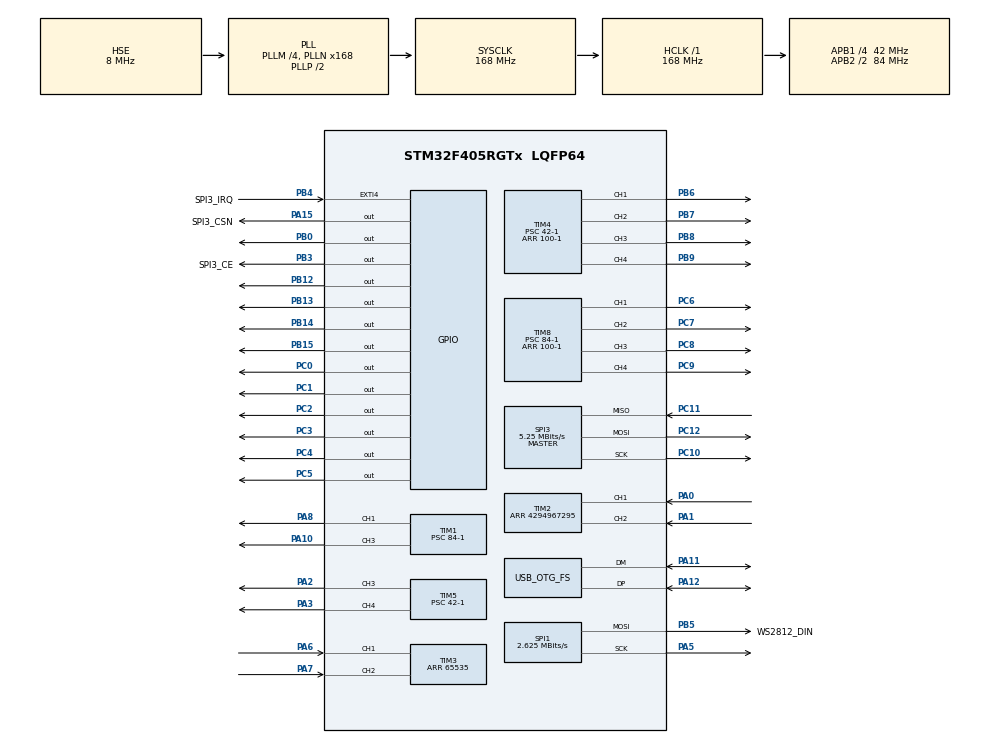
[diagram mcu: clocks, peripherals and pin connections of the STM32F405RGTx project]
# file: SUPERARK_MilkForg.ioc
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Dma.Request0=SPI1_TX
Dma.SPI1_TX.0.Direction=DMA_MEMORY_TO_PERIPH
Dma.SPI1_TX.0.FIFOMode=DMA_FIFOMODE_DISABLE
Dma.SPI1_TX.0.Instance=DMA2_Stream3
Dma.SPI1_TX.0.MemDataAlignment=DMA_MDATAALIGN_BYTE
Dma.SPI1_TX.0.MemInc=DMA_MINC_ENABLE
Dma.SPI1_TX.0.Mode=DMA_NORMAL
Dma.SPI1_TX.0.PeriphDataAlignment=DMA_PDATAALIGN_BYTE
Dma.SPI1_TX.0.PeriphInc=DMA_PINC_DISABLE
Dma.SPI1_TX.0.Priority=DMA_PRIORITY_VERY_HIGH
FREERTOS.Tasks01=defaultTask,24,256,StartDefaultTask,Default,NULL,Dynamic,NULL,NULL;remoteTask,24,512,StartRemoteTask,As weak,NULL,Dynamic,NULL,NULL;ws2812Task,8,512,StartWs2812Task,As weak,NULL,Dynamic,NULL,NULL
FREERTOS.configTOTAL_HEAP_SIZE=15360
Mcu.Family=STM32F4
Mcu.Name=STM32F405RGTx
Mcu.Package=LQFP64
NVIC.DMA2_Stream3_IRQn=true\:5\:0\:false\:false\:true\:true\:false\:true\:true
NVIC.EXTI4_IRQn=true\:5\:0\:false\:false\:true\:true\:true\:true\:true
NVIC.OTG_FS_IRQn=true\:5\:0\:false\:false\:true\:true\:false\:true\:true
NVIC.PriorityGroup=NVIC_PRIORITYGROUP_4
NVIC.SPI1_IRQn=true\:5\:0\:false\:false\:true\:true\:false\:true\:true
NVIC.TIM6_DAC_IRQn=true\:15\:0\:false\:false\:true\:false\:false\:true\:true
NVIC.TimeBase=TIM6_DAC_IRQn
NVIC.TimeBaseIP=TIM6
PA0-WKUP.GPIO_Speed=GPIO_SPEED_FREQ_HIGH
PA0-WKUP.Signal=S_TIM2_CH1_ETR
PA1.GPIO_Speed=GPIO_SPEED_FREQ_HIGH
PA1.Signal=S_TIM2_CH2
PA10.GPIO_Speed=GPIO_SPEED_FREQ_HIGH
PA10.Signal=S_TIM1_CH3
PA11.Mode=Device_Only
PA11.Signal=USB_OTG_FS_DM
PA12.Mode=Device_Only
PA12.Signal=USB_OTG_FS_DP
PA13.Mode=Serial_Wire
PA13.Signal=SYS_JTMS-SWDIO
PA14.Mode=Serial_Wire
PA14.Signal=SYS_JTCK-SWCLK
PA15.GPIO_Label=SPI3_CSN
PA15.Signal=GPIO_Output
PA2.GPIO_Speed=GPIO_SPEED_FREQ_HIGH
PA2.Signal=S_TIM5_CH3
PA3.GPIO_Speed=GPIO_SPEED_FREQ_HIGH
PA3.Signal=S_TIM5_CH4
PA5.Mode=TX_Only_Simplex_Unidirect_Master
PA5.Signal=SPI1_SCK
PA6.GPIO_Speed=GPIO_SPEED_FREQ_HIGH
PA6.Signal=S_TIM3_CH1
PA7.GPIO_Speed=GPIO_SPEED_FREQ_HIGH
PA7.Signal=S_TIM3_CH2
PA8.GPIO_Speed=GPIO_SPEED_FREQ_HIGH
PA8.Signal=S_TIM1_CH1
PB0.Signal=GPIO_Output
PB12.Signal=GPIO_Output
PB13.Signal=GPIO_Output
PB14.Signal=GPIO_Output
PB15.Signal=GPIO_Output
PB3.GPIO_Label=SPI3_CE
PB3.Signal=GPIO_Output
PB4.GPIO_Label=SPI3_IRQ
PB4.GPIO_ModeDefaultEXTI=GPIO_MODE_IT_FALLING
PB4.GPIO_PuPd=GPIO_PULLUP
PB4.Signal=GPXTI4
PB5.GPIO_Label=WS2812_DIN
PB5.Mode=TX_Only_Simplex_Unidirect_Master
PB5.Signal=SPI1_MOSI
PB6.GPIO_Speed=GPIO_SPEED_FREQ_HIGH
PB6.Signal=S_TIM4_CH1
PB7.GPIO_Speed=GPIO_SPEED_FREQ_HIGH
PB7.Signal=S_TIM4_CH2
PB8.GPIO_Speed=GPIO_SPEED_FREQ_HIGH
PB8.Signal=S_TIM4_CH3
PB9.GPIO_Speed=GPIO_SPEED_FREQ_HIGH
PB9.Signal=S_TIM4_CH4
PC0.Signal=GPIO_Output
PC1.Signal=GPIO_Output
PC10.Mode=Full_Duplex_Master
PC10.Signal=SPI3_SCK
PC11.Mode=Full_Duplex_Master
PC11.Signal=SPI3_MISO
PC12.Mode=Full_Duplex_Master
PC12.Signal=SPI3_MOSI
PC2.Signal=GPIO_Output
PC3.Signal=GPIO_Output
PC4.Signal=GPIO_Output
PC5.Signal=GPIO_Output
PC6.GPIO_Speed=GPIO_SPEED_FREQ_HIGH
PC6.Signal=S_TIM8_CH1
PC7.GPIO_Speed=GPIO_SPEED_FREQ_HIGH
PC7.Signal=S_TIM8_CH2
PC8.GPIO_Speed=GPIO_SPEED_FREQ_HIGH
PC8.Signal=S_TIM8_CH3
PC9.GPIO_Speed=GPIO_SPEED_FREQ_HIGH
PC9.Signal=S_TIM8_CH4
PH0-OSC_IN.Mode=HSE-External-Oscillator
PH0-OSC_IN.Signal=RCC_OSC_IN
PH1-OSC_OUT.Mode=HSE-External-Oscillator
PH1-OSC_OUT.Signal=RCC_OSC_OUT
ProjectManager.HeapSize=0x200
ProjectManager.StackSize=0x400
ProjectManager.TargetToolchain=CMake
RCC.48MHZClocksFreq_Value=48000000
RCC.AHBFreq_Value=168000000
RCC.APB1CLKDivider=RCC_HCLK_DIV4
RCC.APB1Freq_Value=42000000
RCC.APB1TimFreq_Value=84000000
RCC.APB2CLKDivider=RCC_HCLK_DIV2
RCC.APB2Freq_Value=84000000
RCC.APB2TimFreq_Value=168000000
RCC.CortexFreq_Value=168000000
RCC.HCLKFreq_Value=168000000
RCC.HSE_VALUE=8000000
RCC.HSI_VALUE=16000000
RCC.LSE_VALUE=32768
RCC.PLLM=4
RCC.PLLN=168
RCC.PLLQ=7
RCC.SYSCLKFreq_VALUE=168000000
RCC.SYSCLKSource=RCC_SYSCLKSOURCE_PLLCLK
RCC.VCOOutputFreq_Value=336000000
SH.S_TIM1_CH1.0=TIM1_CH1,PWM Generation1 CH1
SH.S_TIM1_CH3.0=TIM1_CH3,PWM Generation3 CH3
SH.S_TIM2_CH1_ETR.0=TIM2_CH1,Encoder_Interface
SH.S_TIM2_CH2.0=TIM2_CH2,Encoder_Interface
SH.S_TIM3_CH1.0=TIM3_CH1,Encoder_Interface
SH.S_TIM3_CH2.0=TIM3_CH2,Encoder_Interface
SH.S_TIM4_CH1.0=TIM4_CH1,PWM Generation1 CH1
SH.S_TIM4_CH2.0=TIM4_CH2,PWM Generation2 CH2
SH.S_TIM4_CH3.0=TIM4_CH3,PWM Generation3 CH3
SH.S_TIM4_CH4.0=TIM4_CH4,PWM Generation4 CH4
SH.S_TIM5_CH3.0=TIM5_CH3,PWM Generation3 CH3
SH.S_TIM5_CH4.0=TIM5_CH4,PWM Generation4 CH4
SH.S_TIM8_CH1.0=TIM8_CH1,PWM Generation1 CH1
SH.S_TIM8_CH2.0=TIM8_CH2,PWM Generation2 CH2
SH.S_TIM8_CH3.0=TIM8_CH3,PWM Generation3 CH3
SH.S_TIM8_CH4.0=TIM8_CH4,PWM Generation4 CH4
SPI1.BaudRatePrescaler=SPI_BAUDRATEPRESCALER_32
SPI1.CalculateBaudRate=2.625 MBits/s
SPI1.Direction=SPI_DIRECTION_2LINES
SPI1.Mode=SPI_MODE_MASTER
SPI1.VirtualType=VM_MASTER
SPI3.BaudRatePrescaler=SPI_BAUDRATEPRESCALER_8
SPI3.CalculateBaudRate=5.25 MBits/s
SPI3.Direction=SPI_DIRECTION_2LINES
SPI3.Mode=SPI_MODE_MASTER
SPI3.VirtualType=VM_MASTER
TIM1.AutoReloadPreload=TIM_AUTORELOAD_PRELOAD_ENABLE
TIM1.Channel-PWM\ Generation1\ CH1=TIM_CHANNEL_1
TIM1.Channel-PWM\ Generation3\ CH3=TIM_CHANNEL_3
TIM1.Period=100-1
TIM1.Prescaler=84-1
TIM2.AutoReloadPreload=TIM_AUTORELOAD_PRELOAD_ENABLE
TIM2.EncoderMode=TIM_ENCODERMODE_TI12
TIM2.IC1Filter=6
TIM2.IC2Filter=6
TIM2.Period=4294967295
TIM3.AutoReloadPreload=TIM_AUTORELOAD_PRELOAD_ENABLE
TIM3.EncoderMode=TIM_ENCODERMODE_TI12
TIM3.IC1Filter=6
TIM3.IC2Filter=6
TIM3.Period=65535
TIM4.AutoReloadPreload=TIM_AUTORELOAD_PRELOAD_ENABLE
TIM4.Channel-PWM\ Generation1\ CH1=TIM_CHANNEL_1
TIM4.Channel-PWM\ Generation2\ CH2=TIM_CHANNEL_2
TIM4.Channel-PWM\ Generation3\ CH3=TIM_CHANNEL_3
TIM4.Channel-PWM\ Generation4\ CH4=TIM_CHANNEL_4
TIM4.Period=100-1
TIM4.Prescaler=42-1
TIM5.AutoReloadPreload=TIM_AUTORELOAD_PRELOAD_ENABLE
TIM5.Channel-PWM\ Generation3\ CH3=TIM_CHANNEL_3
TIM5.Channel-PWM\ Generation4\ CH4=TIM_CHANNEL_4
TIM5.Period=100-1
TIM5.Prescaler=42-1
TIM8.AutoReloadPreload=TIM_AUTORELOAD_PRELOAD_ENABLE
TIM8.Channel-PWM\ Generation1\ CH1=TIM_CHANNEL_1
TIM8.Channel-PWM\ Generation2\ CH2=TIM_CHANNEL_2
TIM8.Channel-PWM\ Generation3\ CH3=TIM_CHANNEL_3
TIM8.Channel-PWM\ Generation4\ CH4=TIM_CHANNEL_4
TIM8.Period=100-1
TIM8.Prescaler=84-1
USB_DEVICE.CLASS_NAME_FS=CDC
USB_DEVICE.VirtualMode-CDC_FS=Cdc
USB_DEVICE.VirtualModeFS=Cdc_FS
USB_OTG_FS.VirtualMode=Device_Only
VP_FREERTOS_VS_CMSIS_V2.Mode=CMSIS_V2
VP_SYS_VS_tim6.Mode=TIM6
VP_TIM4_VS_ClockSourceINT.Mode=Internal
VP_TIM8_VS_ClockSourceINT.Mode=Internal
VP_USB_DEVICE_VS_USB_DEVICE_CDC_FS.Mode=CDC_FS
board=custom

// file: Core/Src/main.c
/* USER CODE BEGIN Header */
/**
  ******************************************************************************
  * @file           : main.c
  * @brief          : Main program body
  ******************************************************************************
  * @attention
  *
  * Copyright (c) 2026 STMicroelectronics.
  * All rights reserved.
  *
  * This software is licensed under terms that can be found in the LICENSE file
  * in the root directory of this software component.
  * If no LICENSE file comes with this software, it is provided AS-IS.
  *
  ******************************************************************************
  */
/* USER CODE END Header */
#include "main.h"
#include "cmsis_os.h"
#include "dma.h"
#include "spi.h"
#include "tim.h"
#include "usb_device.h"
#include "gpio.h"

/* USER CODE BEGIN Includes */
#include "bsp_dwt.h"
#include "bsp_encoder.h"
#include "bsp_pwm.h"

/* USER CODE END Includes */

/* USER CODE BEGIN PD */
#define IR2104_MOTOR_TEST_ENABLE 0U
#define IR2104_MOTOR_TEST_DUTY 10U
#define IR2104_DEADTIME_US 10U

/* USER CODE END PD */

void SystemClock_Config(void);
void MX_FREERTOS_Init(void);

/* USER CODE BEGIN 0 */
/*
 * IR2104 full-bridge direct PWM test.
 *
 * Each motor uses two IR2104 inputs:
 *   forward: IN_A = PWM, IN_B = 0
 *   reverse: IN_A = 0,   IN_B = PWM
 *   stop:    IN_A = 0,   IN_B = 0
 *
 * Channel pairs:
 *   M1: TIM8_CH1 / TIM8_CH2
 *   M2: TIM8_CH3 / TIM8_CH4
 *   M3: TIM4_CH1 / TIM4_CH2
 *   M4: TIM4_CH3 / TIM4_CH4
 *   M5: TIM5_CH3 / TIM5_CH4
 *   M6: TIM1_CH1 / TIM1_CH3
 *
 * SD is pulled high on the board, so all PWM pins are initialized to 0% high
 * duty before enabling test output.
 *
 * The timer BDTR dead-time setting is not used here because these signals are
 * two normal PWM channels feeding two IR2104 IN pins, not CHx/CHxN outputs.
 * Dead time is applied in software by turning both IN pins off before changing
 * bridge direction.
 */
#if IR2104_MOTOR_TEST_ENABLE
static void IR2104_SetBridgeWithDeadtime(BspPwmChannel_t in_a,
                                         BspPwmChannel_t in_b,
                                         uint8_t duty_a,
                                         uint8_t duty_b)
{
  Bsp_Pwm_SetDuty(in_a, 0U);
  Bsp_Pwm_SetDuty(in_b, 0U);
  Bsp_Dwt_DelayUs(IR2104_DEADTIME_US);
  Bsp_Pwm_SetDuty(in_a, duty_a);
  Bsp_Pwm_SetDuty(in_b, duty_b);
}
#endif

static void IR2104_MotorTest_Apply(void)
{
#if IR2104_MOTOR_TEST_ENABLE
  /* M1 forward at low duty for first bring-up. */
  IR2104_SetBridgeWithDeadtime(BSP_PWM_TIM8_CH1, BSP_PWM_TIM8_CH2,
                               IR2104_MOTOR_TEST_DUTY, 0U);

  /* Keep the other bridges stopped. */
  IR2104_SetBridgeWithDeadtime(BSP_PWM_TIM8_CH3, BSP_PWM_TIM8_CH4, 0U, 0U);
  IR2104_SetBridgeWithDeadtime(BSP_PWM_TIM4_CH1, BSP_PWM_TIM4_CH2, 0U, 0U);
  IR2104_SetBridgeWithDeadtime(BSP_PWM_TIM4_CH3, BSP_PWM_TIM4_CH4, 0U, 0U);
  IR2104_SetBridgeWithDeadtime(BSP_PWM_TIM5_CH3, BSP_PWM_TIM5_CH4, 0U, 0U);
  IR2104_SetBridgeWithDeadtime(BSP_PWM_TIM1_CH1, BSP_PWM_TIM1_CH3, 0U, 0U);
#endif
}

/* USER CODE END 0 */

int main(void)
{

  /* MCU Configuration--------------------------------------------------------*/

  /* Reset of all peripherals, Initializes the Flash interface and the Systick. */
  HAL_Init();

  /* Configure the system clock */
  SystemClock_Config();

  /* Initialize all configured peripherals */
  MX_GPIO_Init();
  MX_DMA_Init();
  MX_SPI1_Init();
  MX_SPI3_Init();
  MX_TIM4_Init();
  MX_TIM8_Init();
  MX_TIM1_Init();
  MX_TIM2_Init();
  MX_TIM3_Init();
  MX_TIM5_Init();
  /* USER CODE BEGIN 2 */
  Bsp_Encoder_Init();
  Bsp_Pwm_Init();
  IR2104_MotorTest_Apply();

  /* USER CODE END 2 */

  /* Init scheduler */
  osKernelInitialize();  /* Call init function for freertos objects (in cmsis_os2.c) */
  MX_FREERTOS_Init();

  /* Start scheduler */
  osKernelStart();

  /* We should never get here as control is now taken by the scheduler */

  /* Infinite loop */
  while (1)
  {

  }
}

void SystemClock_Config(void)
{
  RCC_OscInitTypeDef RCC_OscInitStruct = {0};
  RCC_ClkInitTypeDef RCC_ClkInitStruct = {0};

  /** Configure the main internal regulator output voltage
  */
  __HAL_RCC_PWR_CLK_ENABLE();
  __HAL_PWR_VOLTAGESCALING_CONFIG(PWR_REGULATOR_VOLTAGE_SCALE1);

  /** Initializes the RCC Oscillators according to the specified parameters
  * in the RCC_OscInitTypeDef structure.
  */
  RCC_OscInitStruct.OscillatorType = RCC_OSCILLATORTYPE_HSE;
  RCC_OscInitStruct.HSEState = RCC_HSE_ON;
  RCC_OscInitStruct.PLL.PLLState = RCC_PLL_ON;
  RCC_OscInitStruct.PLL.PLLSource = RCC_PLLSOURCE_HSE;
  RCC_OscInitStruct.PLL.PLLM = 4;
  RCC_OscInitStruct.PLL.PLLN = 168;
  RCC_OscInitStruct.PLL.PLLP = RCC_PLLP_DIV2;
  RCC_OscInitStruct.PLL.PLLQ = 7;
  if (HAL_RCC_OscConfig(&RCC_OscInitStruct) != HAL_OK)
  {
    Error_Handler();
  }

  /** Initializes the CPU, AHB and APB buses clocks
  */
  RCC_ClkInitStruct.ClockType = RCC_CLOCKTYPE_HCLK|RCC_CLOCKTYPE_SYSCLK
                              |RCC_CLOCKTYPE_PCLK1|RCC_CLOCKTYPE_PCLK2;
  RCC_ClkInitStruct.SYSCLKSource = RCC_SYSCLKSOURCE_PLLCLK;
  RCC_ClkInitStruct.AHBCLKDivider = RCC_SYSCLK_DIV1;
  RCC_ClkInitStruct.APB1CLKDivider = RCC_HCLK_DIV4;
  RCC_ClkInitStruct.APB2CLKDivider = RCC_HCLK_DIV2;

  if (HAL_RCC_ClockConfig(&RCC_ClkInitStruct, FLASH_LATENCY_5) != HAL_OK)
  {
    Error_Handler();
  }
}

void HAL_TIM_PeriodElapsedCallback(TIM_HandleTypeDef *htim)
{
  if (htim->Instance == TIM6)
  {
    HAL_IncTick();
  }
}

void Error_Handler(void)
{
  __disable_irq();
  while (1)
  {
  }
}

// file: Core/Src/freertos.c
/* USER CODE BEGIN Header */
/**
  ******************************************************************************
  * File Name          : freertos.c
  * Description        : Code for freertos applications
  ******************************************************************************
  * @attention
  *
  * Copyright (c) 2026 STMicroelectronics.
  * All rights reserved.
  *
  * This software is licensed under terms that can be found in the LICENSE file
  * in the root directory of this software component.
  * If no LICENSE file comes with this software, it is provided AS-IS.
  *
  ******************************************************************************
  */
/* USER CODE END Header */

#include "FreeRTOS.h"
#include "task.h"
#include "main.h"
#include "cmsis_os.h"

/* USER CODE BEGIN Includes */
#include "app_remote_task.h"
#include "app_ws2812_task.h"

/* USER CODE END Includes */

/* Definitions for defaultTask */
osThreadId_t defaultTaskHandle;
const osThreadAttr_t defaultTask_attributes = {
  .name = "defaultTask",
  .stack_size = 256 * 4,
  .priority = (osPriority_t) osPriorityNormal,
};
/* Definitions for remoteTask */
osThreadId_t remoteTaskHandle;
const osThreadAttr_t remoteTask_attributes = {
  .name = "remoteTask",
  .stack_size = 512 * 4,
  .priority = (osPriority_t) osPriorityNormal,
};
/* Definitions for ws2812Task */
osThreadId_t ws2812TaskHandle;
const osThreadAttr_t ws2812Task_attributes = {
  .name = "ws2812Task",
  .stack_size = 512 * 4,
  .priority = (osPriority_t) osPriorityLow,
};

void StartDefaultTask(void *argument);
void StartRemoteTask(void *argument);
void StartWs2812Task(void *argument);

extern void MX_USB_DEVICE_Init(void);
void MX_FREERTOS_Init(void); /* (MISRA C 2004 rule 8.1) */

void MX_FREERTOS_Init(void) {

  /* Create the thread(s) */
  /* creation of defaultTask */
  defaultTaskHandle = osThreadNew(StartDefaultTask, NULL, &defaultTask_attributes);

  /* creation of remoteTask */
  remoteTaskHandle = osThreadNew(StartRemoteTask, NULL, &remoteTask_attributes);

  /* creation of ws2812Task */
  ws2812TaskHandle = osThreadNew(StartWs2812Task, NULL, &ws2812Task_attributes);

}

void StartDefaultTask(void *argument)
{
  /* init code for USB_DEVICE */
  MX_USB_DEVICE_Init();
  /* USER CODE BEGIN StartDefaultTask */

  /* Infinite loop */
  for(;;)
  {
    osDelay(1000);
  }
  /* USER CODE END StartDefaultTask */
}

__weak void StartRemoteTask(void *argument)
{
  for(;;)
  {
    osDelay(1);
  }
}

__weak void StartWs2812Task(void *argument)
{
  for(;;)
  {
    osDelay(1);
  }
}
